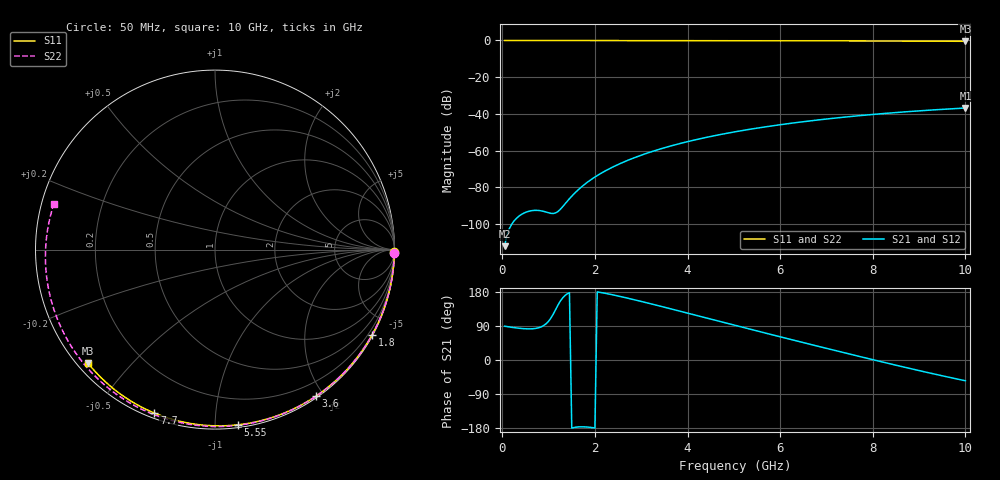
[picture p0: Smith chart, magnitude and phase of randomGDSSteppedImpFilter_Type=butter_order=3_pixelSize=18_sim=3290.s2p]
! freq	dB(S11)	phase(S11)	dB(S12)	phase(S12)
!  dB(S21)	phase(S21)	dB(S22)	phase(S22)
!S-par simulation data
#  GHz  S  DB  R 50
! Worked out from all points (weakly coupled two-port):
!   200 points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, 50 MHz to 10 GHz, reference 50 ohm
!   highest |S21| = -36.78 dB at 10 GHz (marker M1); lowest = -112.0 dB at 50 MHz (marker M2)
!   lowest |S11| = -0.5 dB at 10 GHz (marker M3), VSWR 38.24, Z = 1.5 - j19 ohm
!   |S11| at or under -10 dB: nowhere
!   |S22| runs from -0.6 to 0.0 dB; largest |S21 - S12| = 0
!   S11 on the Smith chart (normalised r, x): 50 MHz: open; 1.8 GHz: 0.03, -3.96; 3.6 GHz: 0.02, -1.90; 5.55 GHz: 0.02, -1.14; 7.7 GHz: 0.02, -0.70; 10 GHz: 0.03, -0.38
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0.05  -0.00 -0.8  -112.02 89.3  -112.02 89.3  -0.00 -1.2
0.4  -0.01 -6.4  -94.95 83.3  -94.95 83.3  -0.01 -9.1
0.8  -0.02 -12.7  -92.63 85.6  -92.63 85.6  -0.02 -18.2
1.2  -0.02 -19.0  -93.18 144.3  -93.18 144.3  -0.03 -27.2
1.65  -0.03 -26.1  -81.07 -176.5  -81.07 -176.5  -0.05 -37.1
1.7  -0.03 -26.8  -79.96 -176.3  -79.96 -176.3  -0.05 -38.2
1.75  -0.04 -27.6  -78.91 -176.3  -78.91 -176.3  -0.05 -39.3
1.8  -0.04 -28.4  -77.92 -176.6  -77.92 -176.6  -0.05 -40.4
2.1  -0.04 -33.0  -72.81 178.8  -72.81 178.8  -0.06 -46.9
2.5  -0.05 -39.1  -67.56 169.0  -67.56 169.0  -0.07 -55.4
2.9  -0.06 -45.1  -63.39 157.6  -63.39 157.6  -0.08 -63.8
3.4  -0.07 -52.5  -59.18 142.4  -59.18 142.4  -0.10 -74.0
3.6  -0.07 -55.4  -57.72 136.2  -57.72 136.2  -0.10 -78.0
4.3  -0.09 -65.5  -53.35 114.3  -53.35 114.3  -0.13 -91.6
5.05  -0.12 -75.9  -49.63 90.7  -49.63 90.7  -0.16 -105.8
5.55  -0.14 -82.7  -47.55 75.1  -47.55 75.1  -0.19 -114.9
6.1  -0.16 -90.0  -45.54 58.1  -45.54 58.1  -0.22 -124.9
6.7  -0.19 -97.8  -43.63 39.8  -43.63 39.8  -0.26 -135.5
7.7  -0.25 -110.4  -40.98 9.7  -40.98 9.7  -0.34 -153.2
8.35  -0.30 -118.4  -39.55 -9.4  -39.55 -9.4  -0.41 -164.8
9.2  -0.38 -128.7  -38.00 -33.5  -38.00 -33.5  -0.50 179.7
10  -0.45 -138.3  -36.78 -54.8  -36.78 -54.8  -0.60 164.3
